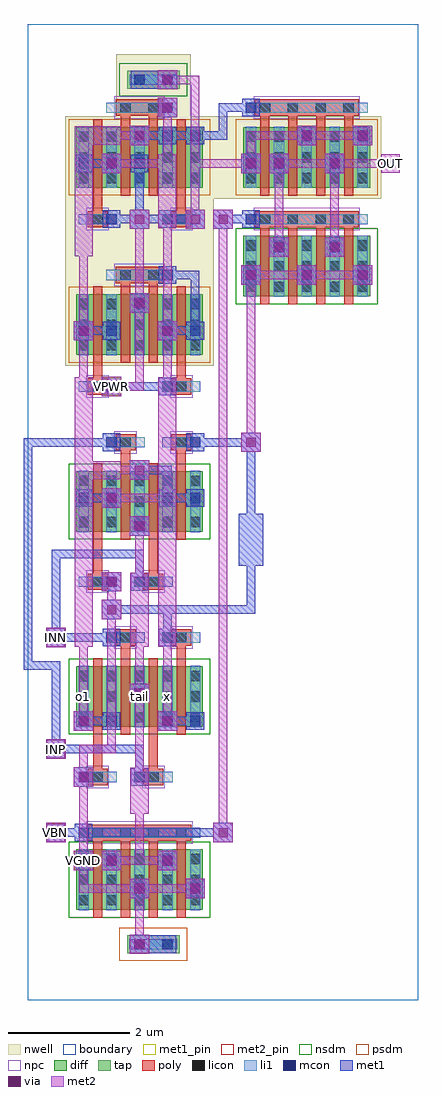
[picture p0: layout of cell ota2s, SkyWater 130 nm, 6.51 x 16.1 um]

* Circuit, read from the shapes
.subckt ota2s INN INP OUT VBN VGND VPWR o1 tail x
XM1 tail VBN VGND VGND sky130_fd_pr__nfet_01v8 w=1 l=0.15 m=4
XM2 o1 VGND o1 VGND sky130_fd_pr__nfet_01v8 w=1 l=0.15 m=2
XM3 x VGND x VGND sky130_fd_pr__nfet_01v8 w=1 l=0.15 m=2
XM4 tail INN o1 VGND sky130_fd_pr__nfet_01v8 w=1 l=0.15 m=2
XM5 tail INP x VGND sky130_fd_pr__nfet_01v8 w=1 l=0.15 m=2
XM6 OUT VBN VGND VGND sky130_fd_pr__nfet_01v8 w=1 l=0.15 m=4
XM7 o1 VPWR o1 VPWR sky130_fd_pr__pfet_01v8 w=1 l=0.15 m=2
XM8 x VPWR x VPWR sky130_fd_pr__pfet_01v8 w=1 l=0.15 m=2
XM9 VPWR x o1 VPWR sky130_fd_pr__pfet_01v8 w=1 l=0.15 m=2
XM10 VPWR x x VPWR sky130_fd_pr__pfet_01v8 w=1 l=0.15 m=2
XM11 OUT o1 VPWR VPWR sky130_fd_pr__pfet_01v8 w=1 l=0.15 m=4
.ends

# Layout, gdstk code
import gdstk
lib = gdstk.Library(unit=1e-6, precision=1e-09)
def R(c, l, rs):  # rectangles x0, y0, x1, y1
    for r in rs: c.add(gdstk.rectangle(r[:2], r[2:], *l))
def A(c, l, x, y, w, h, nx, ny, dx, dy):  # array of equal rectangles
    R(c, l, [(x+i*dx, y+j*dy, x+i*dx+w, y+j*dy+h) for i in range(nx) for j in range(ny)])
nwell = (64, 20)
diff = (65, 20)
tap = (65, 44)
poly = (66, 20)
licon = (66, 44)
li1 = (67, 20)
mcon = (67, 44)
met1_pin = (68, 16)
met1 = (68, 20)
via = (68, 44)
met2_pin = (69, 16)
met2 = (69, 20)
nsdm = (93, 44)
psdm = (94, 20)
npc = (95, 20)
boundary = (235, 4)

ota2s = lib.new_cell('ota2s')
R(ota2s, nwell, [(0.615,10.46,3.065,13.22), (0.615,13.22,5.825,14.58), (1.455,14.58,2.685,15.6)])
R(ota2s, diff, [(0.795,1.485,2.885,2.485), (0.795,4.505,2.885,5.505), (0.795,7.725,2.885,8.725), (0.795,10.64,2.885,11.64), (3.555,11.605,5.645,12.605), (0.795,13.4,2.885,14.4), (3.555,13.4,5.645,14.4)])
R(ota2s, tap, [(1.635,0.775,2.505,1.065), (1.635,15.035,2.505,15.325)])
A(ota2s, poly, 1.075, 1.355, 0.15, 1.405, 4, 1, 0.46, 0)
A(ota2s, poly, 0.985, 3.545, 0.33, 0.27, 1, 3, 0, 3.22)
A(ota2s, poly, 3.835, 11.475, 0.15, 1.405, 4, 1, 0.46, 0)
A(ota2s, poly, 3.835, 13.27, 0.15, 1.45, 4, 1, 0.46, 0)
R(ota2s, poly, [(0.985,2.625,2.695,2.895), (1.905,3.545,2.235,3.815), (1.075,3.68,1.225,5.635), (1.995,3.68,2.145,5.635), (1.535,4.375,1.685,5.98), (2.455,4.375,2.605,5.98), (1.445,5.845,1.775,6.115), (2.365,5.845,2.695,6.115), (1.905,6.765,2.235,7.035), (1.075,6.9,1.225,8.855), (1.995,6.9,2.145,8.855), (1.535,7.595,1.685,9.2), (2.455,7.595,2.605,9.2), (1.445,9.065,1.775,9.335), (2.365,9.065,2.695,9.335), (2.365,9.985,2.695,10.255), (1.075,10.12,1.225,11.77), (2.455,10.12,2.605,11.77), (1.535,10.51,1.685,11.96), (1.995,10.51,2.145,11.96), (1.445,11.825,2.235,12.095), (0.985,12.745,1.315,13.015), (2.365,12.745,2.695,13.015), (3.745,12.745,5.455,13.015), (1.075,12.88,1.225,14.53), (2.455,12.88,2.605,14.53), (1.535,13.27,1.685,14.72), (1.995,13.27,2.145,14.72), (1.445,14.585,2.235,14.855), (3.745,14.585,5.455,14.855)])
A(ota2s, licon, 0.835, 1.56, 0.17, 0.17, 5, 3, 0.46, 0.34)
A(ota2s, licon, 1.065, 2.675, 0.17, 0.17, 4, 1, 0.46, 0)
A(ota2s, licon, 1.065, 3.595, 0.17, 0.17, 1, 3, 0, 3.22)
A(ota2s, licon, 0.835, 4.58, 0.17, 0.17, 5, 3, 0.46, 0.34)
A(ota2s, licon, 0.835, 7.8, 0.17, 0.17, 5, 3, 0.46, 0.34)
A(ota2s, licon, 1.525, 9.115, 0.17, 0.17, 1, 3, 0, 2.76)
A(ota2s, licon, 0.835, 10.715, 0.17, 0.17, 5, 3, 0.46, 0.34)
A(ota2s, licon, 3.595, 11.68, 0.17, 0.17, 5, 3, 0.46, 0.34)
A(ota2s, licon, 1.065, 12.795, 0.17, 0.17, 3, 1, 1.38, 0)
A(ota2s, licon, 4.285, 12.795, 0.17, 0.17, 3, 1, 0.46, 0)
A(ota2s, licon, 0.835, 13.475, 0.17, 0.17, 5, 3, 0.46, 0.34)
A(ota2s, licon, 3.595, 13.475, 0.17, 0.17, 5, 3, 0.46, 0.34)
A(ota2s, licon, 3.825, 14.635, 0.17, 0.17, 4, 1, 0.46, 0)
R(ota2s, licon, [(1.755,0.835,1.925,1.005), (2.215,0.835,2.385,1.005), (1.985,3.595,2.155,3.765), (1.525,5.895,1.695,6.065), (2.445,5.895,2.615,6.065), (1.985,6.815,2.155,6.985), (2.445,9.115,2.615,9.285), (2.445,10.035,2.615,10.205), (1.985,11.875,2.155,12.045), (1.985,14.635,2.155,14.805), (1.755,15.095,1.925,15.265), (2.215,15.095,2.385,15.265)])
A(ota2s, li1, 0.835, 1.48, 0.17, 1.01, 5, 2, 0.46, 3.02)
A(ota2s, li1, 0.835, 3.595, 0.63, 0.17, 1, 3, 0, 3.22)
A(ota2s, li1, 0.835, 7.72, 0.17, 1.01, 5, 2, 0.46, 2.915)
A(ota2s, li1, 3.595, 11.6, 0.17, 1.01, 5, 2, 0.46, 1.795)
A(ota2s, li1, 0.835, 13.395, 0.17, 1.01, 5, 1, 0.46, 0)
R(ota2s, li1, [(1.675,0.835,2.465,1.005), (0.835,2.675,2.845,2.845), (1.755,3.595,2.385,3.765), (1.295,5.895,1.925,6.065), (2.215,5.895,2.845,6.065), (1.755,6.815,2.385,6.985), (1.295,9.115,1.925,9.285), (2.215,9.115,2.845,9.285), (2.215,10.035,2.845,10.205), (1.295,11.875,2.385,12.045), (0.835,12.795,1.465,12.965), (2.215,12.795,2.845,12.965), (3.595,12.795,5.605,12.965), (1.295,14.635,2.385,14.805), (3.595,14.635,5.605,14.805), (1.675,15.095,2.465,15.265)])
A(ota2s, mcon, 0.835, 2.675, 0.17, 0.17, 1, 3, 0, 0.92)
A(ota2s, mcon, 1.755, 7.735, 0.17, 0.17, 1, 3, 0, 3.68)
A(ota2s, mcon, 1.295, 8.195, 0.17, 0.17, 1, 4, 0, 0.92)
A(ota2s, mcon, 2.215, 10.035, 0.17, 0.17, 1, 4, 0, 0.92)
A(ota2s, mcon, 3.595, 11.875, 0.17, 0.17, 3, 1, 0.92, 0)
A(ota2s, mcon, 3.595, 12.795, 0.17, 0.17, 1, 3, 0, 0.92)
A(ota2s, mcon, 0.835, 13.715, 0.17, 0.17, 3, 1, 0.46, 0)
A(ota2s, mcon, 2.215, 14.175, 0.17, 0.17, 1, 3, 0, 0.46)
R(ota2s, mcon, [(1.755,0.835,1.925,1.005), (2.215,0.835,2.385,1.005), (1.755,1.755,1.925,1.925), (2.675,1.755,2.845,1.925), (0.835,2.215,1.005,2.385), (1.295,2.215,1.465,2.385), (2.215,2.215,2.385,2.385), (1.755,3.595,1.925,3.765), (1.295,4.515,1.465,4.685), (2.215,4.515,2.385,4.685), (2.675,4.515,2.845,4.685), (1.755,4.975,1.925,5.145), (1.295,5.895,1.465,6.065), (2.215,5.895,2.385,6.065), (1.295,6.815,1.465,6.985), (1.755,6.815,1.925,6.985), (0.835,8.195,1.005,8.365), (2.215,8.195,2.385,8.365), (2.675,8.195,2.845,8.365), (2.675,9.115,2.845,9.285), (0.835,10.955,1.005,11.125), (2.675,10.955,2.845,11.125), (4.055,12.335,4.225,12.505), (4.975,12.335,5.145,12.505), (1.295,12.795,1.465,12.965), (4.055,13.715,4.225,13.885), (4.975,13.715,5.145,13.885), (2.675,14.175,2.845,14.345), (4.515,14.175,4.685,14.345), (5.435,14.175,5.605,14.345)])
R(ota2s, met1_pin, [(0.775,2.155,1.065,2.445), (1.235,9.975,1.525,10.265)])
A(ota2s, met1, 0.775, 2.615, 0.29, 0.29, 1, 3, 0, 0.92)
A(ota2s, met1, 1.235, 8.135, 0.29, 0.29, 1, 4, 0, 0.92)
A(ota2s, met1, 0.85, 8.21, 0.6, 0.14, 1, 3, 0, 2.76)
A(ota2s, met1, 2.155, 9.975, 0.29, 0.29, 1, 4, 0, 0.92)
A(ota2s, met1, 1.68, 11.34, 0.32, 0.32, 1, 3, 0, 1.38)
A(ota2s, met1, 3.52, 11.8, 0.32, 0.32, 3, 1, 0.92, 0)
A(ota2s, met1, 3.535, 11.815, 0.29, 0.29, 3, 1, 0.92, 0)
A(ota2s, met1, 3.535, 12.735, 0.29, 0.29, 1, 3, 0, 0.92)
A(ota2s, met1, 1.31, 12.81, 0.6, 0.14, 3, 1, 0.46, 0)
A(ota2s, met1, 0.775, 13.655, 0.29, 0.29, 3, 1, 0.46, 0)
A(ota2s, met1, 1.77, 14.19, 0.6, 0.14, 3, 1, 0.46, 0)
R(ota2s, met1, [(1.68,0.76,2,1.08), (1.695,0.775,2.445,1.065), (1.77,0.85,1.91,0.99), (1.68,1.68,2,2), (2.6,1.68,2.92,2), (1.695,1.695,1.985,1.985), (2.615,1.695,2.905,1.985), (0.76,2.14,1.08,2.46), (1.22,2.14,1.54,2.46), (2.14,2.14,2.46,2.46), (0.775,2.155,1.065,2.445), (1.235,2.155,1.525,2.445), (2.155,2.155,2.445,2.445), (0.3,2.6,0.62,2.92), (3.06,2.6,3.38,2.92), (0.39,2.69,0.99,2.83), (0.85,2.69,3.29,2.83), (0.76,3.52,1.08,3.84), (1.695,3.535,1.985,3.825), (1.77,3.61,1.91,4.21), (0.3,3.98,0.62,4.3), (0.39,4.07,1.91,4.21), (0.39,4.07,0.53,5.59), (0.76,4.44,1.08,4.76), (2.14,4.44,2.46,4.76), (1.235,4.455,1.525,4.745), (2.155,4.455,2.445,4.745), (2.615,4.455,2.905,4.745), (0.85,4.53,1.45,4.67), (2.23,4.53,2.83,4.67), (1.68,4.9,2,5.22), (1.695,4.915,1.985,5.205), (-0.07,5.45,0.53,5.59), (-0.07,5.45,0.07,9.27), (0.3,5.82,0.62,6.14), (1.235,5.835,1.525,6.125), (2.155,5.835,2.445,6.125), (0.39,5.91,0.53,7.43), (0.39,5.91,1.45,6.05), (2.23,5.91,2.37,6.51), (1.22,6.28,1.54,6.6), (1.31,6.37,2.37,6.51), (2.23,6.37,3.75,6.51), (3.61,6.37,3.75,7.43), (1.22,6.74,1.54,7.06), (1.235,6.755,1.525,7.045), (1.695,6.755,1.985,7.045), (1.77,6.83,1.91,7.43), (3.48,7.16,3.88,8.02), (0.39,7.29,1.91,7.43), (1.68,7.66,2,7.98), (1.695,7.675,1.985,7.965), (3.61,7.75,3.75,9.27), (1.22,8.12,1.54,8.44), (0.775,8.135,1.065,8.425), (2.155,8.135,2.445,8.425), (2.615,8.135,2.905,8.425), (2.23,8.21,2.83,8.35), (2.23,8.21,2.37,8.81), (1.68,8.58,2,8.9), (1.77,8.67,2.37,8.81), (3.52,9.04,3.84,9.36), (2.615,9.055,2.905,9.345), (-0.07,9.13,1.45,9.27), (2.69,9.13,3.75,9.27), (1.22,9.96,1.54,10.28), (1.31,10.05,2.37,10.19), (0.76,10.88,1.08,11.2), (2.14,10.88,2.46,11.2), (0.775,10.895,1.065,11.185), (2.615,10.895,2.905,11.185), (2.23,10.97,2.83,11.11), (2.69,10.97,2.83,12.03), (1.695,11.355,1.985,11.645), (2.23,11.89,2.83,12.03), (3.98,12.26,4.3,12.58), (4.9,12.26,5.22,12.58), (3.995,12.275,4.285,12.565), (4.915,12.275,5.205,12.565), (2.6,12.72,2.92,13.04), (3.06,12.72,3.38,13.04), (1.235,12.735,1.525,13.025), (1.77,12.81,1.91,13.87), (3.15,12.81,3.75,12.95), (1.22,13.64,1.54,13.96), (3.52,13.64,3.84,13.96), (3.98,13.64,4.3,13.96), (4.9,13.64,5.22,13.96), (3.995,13.655,4.285,13.945), (4.915,13.655,5.205,13.945), (4.44,14.1,4.76,14.42), (5.36,14.1,5.68,14.42), (2.155,14.115,2.445,14.405), (2.615,14.115,2.905,14.405), (4.455,14.115,4.745,14.405), (5.375,14.115,5.665,14.405), (3.15,14.19,3.29,14.79), (2.14,14.56,2.46,14.88), (2.155,14.575,2.445,14.865), (3.15,14.65,3.75,14.79), (2.14,15.02,2.46,15.34), (1.695,15.035,2.445,15.325), (2.23,15.11,2.37,15.25)])
A(ota2s, via, 1.765, 11.425, 0.15, 0.15, 1, 3, 0, 1.38)
A(ota2s, via, 3.605, 11.885, 0.15, 0.15, 3, 1, 0.92, 0)
R(ota2s, via, [(1.765,0.845,1.915,0.995), (1.765,1.765,1.915,1.915), (2.685,1.765,2.835,1.915), (0.845,2.225,0.995,2.375), (1.305,2.225,1.455,2.375), (2.225,2.225,2.375,2.375), (0.385,2.685,0.535,2.835), (3.145,2.685,3.295,2.835), (0.845,3.605,0.995,3.755), (0.385,4.065,0.535,4.215), (0.845,4.525,0.995,4.675), (2.225,4.525,2.375,4.675), (1.765,4.985,1.915,5.135), (0.385,5.905,0.535,6.055), (1.305,6.365,1.455,6.515), (1.305,6.825,1.455,6.975), (1.765,7.745,1.915,7.895), (1.305,8.205,1.455,8.355), (1.765,8.665,1.915,8.815), (3.605,9.125,3.755,9.275), (1.305,10.045,1.455,10.195), (0.845,10.965,0.995,11.115), (2.225,10.965,2.375,11.115), (4.065,12.345,4.215,12.495), (4.985,12.345,5.135,12.495), (2.685,12.805,2.835,12.955), (3.145,12.805,3.295,12.955), (1.305,13.725,1.455,13.875), (3.605,13.725,3.755,13.875), (4.065,13.725,4.215,13.875), (4.985,13.725,5.135,13.875), (4.525,14.185,4.675,14.335), (5.445,14.185,5.595,14.335), (2.225,14.645,2.375,14.795), (2.225,15.105,2.375,15.255)])
R(ota2s, met2_pin, [(0.31,2.61,0.61,2.91), (0.31,3.99,0.61,4.29), (0.31,5.83,0.61,6.13), (5.83,13.65,6.13,13.95)])
A(ota2s, met2, 1.68, 11.34, 0.32, 0.32, 1, 3, 0, 1.38)
A(ota2s, met2, 3.52, 11.8, 0.32, 0.32, 3, 1, 0.92, 0)
A(ota2s, met2, 1.31, 13.73, 1.06, 0.14, 3, 1, 1.38, 0)
R(ota2s, met2, [(1.68,0.76,2,1.08), (1.77,0.85,1.91,1.91), (1.68,1.68,2,2), (2.6,1.68,2.92,2), (0.85,1.77,1.91,1.91), (0.85,1.77,0.99,2.37), (1.77,1.77,2.83,1.91), (0.76,2.14,1.08,2.46), (1.22,2.14,1.54,2.46), (2.14,2.14,2.46,2.46), (0.85,2.23,0.99,3.75), (1.31,2.23,1.91,2.37), (1.77,2.23,1.91,3.29), (1.77,2.23,2.37,2.37), (0.3,2.6,0.62,2.92), (3.06,2.6,3.38,2.92), (0.31,2.61,0.61,2.91), (0.39,2.69,0.53,2.83), (3.15,2.69,3.29,12.95), (1.69,3.07,1.99,3.83), (0.76,3.52,1.08,3.84), (0.85,3.61,0.99,4.21), (1.77,3.61,1.91,5.13), (0.3,3.98,0.62,4.3), (0.31,3.99,0.61,4.29), (0.39,4.07,0.53,4.21), (0.85,4.07,1.45,4.21), (1.31,4.07,1.45,6.97), (0.76,4.44,1.08,4.76), (2.14,4.44,2.46,4.76), (0.85,4.53,0.99,6.05), (2.23,4.53,2.37,6.05), (1.68,4.9,2,5.22), (1.77,4.99,1.91,6.05), (0.3,5.82,0.62,6.14), (0.31,5.83,0.61,6.13), (0.77,5.83,1.07,10.27), (1.69,5.83,1.99,7.05), (2.15,5.83,2.45,8.43), (0.39,5.91,0.53,6.05), (1.22,6.28,1.54,6.6), (1.22,6.74,1.54,7.06), (1.77,6.83,1.91,7.89), (1.68,7.66,2,7.98), (1.22,8.12,1.54,8.44), (2.15,8.13,2.45,10.27), (1.31,8.21,2.37,8.35), (1.68,8.58,2,8.9), (0.77,8.59,1.53,8.89), (1.31,8.67,1.91,8.81), (3.52,9.04,3.84,9.36), (3.61,9.13,3.75,12.03), (1.22,9.96,1.54,10.28), (0.85,10.05,0.99,11.11), (1.31,10.05,1.91,10.19), (1.77,10.05,1.91,11.57), (2.23,10.05,2.37,11.11), (0.76,10.88,1.08,11.2), (2.14,10.88,2.46,11.2), (0.85,10.97,0.99,12.49), (2.23,10.97,2.37,12.95), (1.77,11.43,1.91,12.95), (3.61,11.89,4.67,12.03), (4.53,11.89,5.59,12.03), (3.98,12.26,4.3,12.58), (4.9,12.26,5.22,12.58), (0.77,12.27,1.07,14.41), (4.07,12.35,4.21,13.87), (4.99,12.35,5.13,13.87), (2.6,12.72,2.92,13.04), (3.06,12.72,3.38,13.04), (2.15,12.73,2.45,13.95), (2.69,12.81,2.83,13.87), (1.22,13.64,1.54,13.96), (3.52,13.64,3.84,13.96), (3.98,13.64,4.3,13.96), (4.9,13.64,5.22,13.96), (5.83,13.65,6.13,13.95), (2.23,13.73,2.37,14.79), (2.69,13.73,2.83,15.25), (3.61,13.73,3.75,14.33), (4.99,13.73,6.05,13.87), (5.91,13.73,6.05,13.87), (4.44,14.1,4.76,14.42), (5.36,14.1,5.68,14.42), (0.77,14.11,1.53,14.41), (1.31,14.19,1.91,14.33), (3.61,14.19,4.67,14.33), (4.53,14.19,5.59,14.33), (2.14,14.56,2.46,14.88), (2.14,15.02,2.46,15.34), (2.23,15.11,2.83,15.25)])
R(ota2s, nsdm, [(0.67,1.36,3.01,2.61), (0.67,4.38,3.01,5.63), (0.67,7.6,3.01,8.85), (3.43,11.48,5.77,12.73), (1.51,14.91,2.63,15.45)])
R(ota2s, psdm, [(1.51,0.65,2.63,1.19), (0.67,10.515,3.01,11.765), (0.67,13.275,3.01,14.525), (3.43,13.275,5.77,14.525)])
A(ota2s, npc, 0.965, 3.495, 0.37, 0.37, 1, 3, 0, 3.22)
R(ota2s, npc, [(0.965,2.575,2.715,2.945), (1.885,3.495,2.255,3.865), (1.425,5.795,1.795,6.165), (2.345,5.795,2.715,6.165), (1.885,6.715,2.255,7.085), (1.425,9.015,1.795,9.385), (2.345,9.015,2.715,9.385), (2.345,9.935,2.715,10.305), (1.425,11.775,2.255,12.145), (0.965,12.695,1.335,13.065), (2.345,12.695,2.715,13.065), (3.725,12.695,5.475,13.065), (1.425,14.535,2.255,14.905), (3.725,14.535,5.475,14.905)])
R(ota2s, boundary, [(0,0,6.44,16.1)])
ota2s.add(gdstk.Label('o1', (0.92,5.005), layer=67, texttype=5))
ota2s.add(gdstk.Label('tail', (1.84,5.005), layer=67, texttype=5))
ota2s.add(gdstk.Label('x', (2.3,5.005), layer=67, texttype=5))
ota2s.add(gdstk.Label('VPWR', (1.38,10.12), layer=68, texttype=5))
ota2s.add(gdstk.Label('VGND', (0.92,2.3), layer=68, texttype=5))
ota2s.add(gdstk.Label('INP', (0.46,4.14), layer=69, texttype=5))
ota2s.add(gdstk.Label('INN', (0.46,5.98), layer=69, texttype=5))
ota2s.add(gdstk.Label('VBN', (0.46,2.76), layer=69, texttype=5))
ota2s.add(gdstk.Label('OUT', (5.98,13.8), layer=69, texttype=5))
ota2s.add(gdstk.Label('VPWR', (1.38,10.12), layer=68, texttype=16))
ota2s.add(gdstk.Label('VGND', (0.92,2.3), layer=68, texttype=16))
ota2s.add(gdstk.Label('INP', (0.46,4.14), layer=69, texttype=16))
ota2s.add(gdstk.Label('INN', (0.46,5.98), layer=69, texttype=16))
ota2s.add(gdstk.Label('VBN', (0.46,2.76), layer=69, texttype=16))
ota2s.add(gdstk.Label('OUT', (5.98,13.8), layer=69, texttype=16))

lib.write_gds('ota2s.gds')
